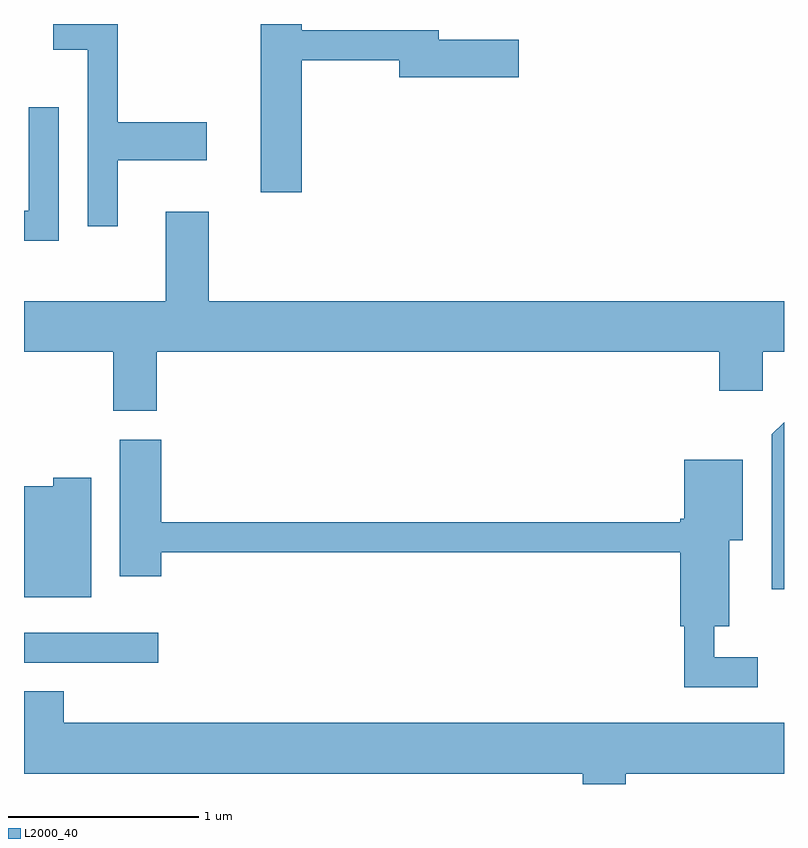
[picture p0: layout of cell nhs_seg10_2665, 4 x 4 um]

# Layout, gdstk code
import gdstk
lib = gdstk.Library(unit=1e-6, precision=1e-09)
def R(c, l, rs):  # rectangles x0, y0, x1, y1
    for r in rs: c.add(gdstk.rectangle(r[:2], r[2:], *l))
def P(c, l, *ps):  # polygons
    for p in ps: c.add(gdstk.Polygon(p, *l))
L2000_40 = (2000, 40)

nhs_seg10_2665 = lib.new_cell('nhs_seg10_2665')
R(nhs_seg10_2665, L2000_40, [(263.611,2121.161,264.318,2121.319)])
P(nhs_seg10_2665, L2000_40, [(265.074,2124.331),(265.586,2124.331),(265.586,2124.241),(266.214,2124.241),(266.214,2124.439),(265.794,2124.439),(265.794,2124.489),(265.074,2124.489),(265.074,2124.522),(264.856,2124.522),(264.856,2123.636),(265.074,2123.636)],
  [(264.104,2123.806),(264.574,2123.806),(264.574,2124.004),(264.104,2124.004),(264.104,2124.522),(263.766,2124.522),(263.766,2124.386),(263.946,2124.386),(263.946,2123.458),(264.104,2123.458)],
  [(263.794,2124.083),(263.636,2124.083),(263.636,2123.539),(263.611,2123.539),(263.611,2123.381),(263.794,2123.381)],
  [(264.309,2122.796),(267.271,2122.796),(267.271,2122.591),(267.499,2122.591),(267.499,2122.796),(267.611,2122.796),(267.611,2123.064),(264.584,2123.064),(264.584,2123.534),(264.356,2123.534),(264.356,2123.064),(263.611,2123.064),(263.611,2122.796),(264.081,2122.796),(264.081,2122.486),(264.309,2122.486)],
  [(267.611,2122.427),(267.546,2122.362),(267.546,2121.548),(267.611,2121.548)],
  [(267.473,2121.189),(267.244,2121.189),(267.244,2121.351),(267.324,2121.351),(267.324,2121.806),(267.394,2121.806),(267.394,2122.229),(267.086,2122.229),(267.086,2121.919),(267.066,2121.919),(267.066,2121.899),(264.334,2121.899),(264.334,2122.334),(264.116,2122.334),(264.116,2121.616),(264.334,2121.616),(264.334,2121.741),(267.066,2121.741),(267.066,2121.351),(267.086,2121.351),(267.086,2121.031),(267.473,2121.031)],
  [(263.964,2122.134),(263.766,2122.134),(263.766,2122.089),(263.611,2122.089),(263.611,2121.506),(263.964,2121.506)],
  [(266.779,2120.576),(267.611,2120.576),(267.611,2120.844),(263.819,2120.844),(263.819,2121.009),(263.611,2121.009),(263.611,2120.576),(266.551,2120.576),(266.551,2120.522),(266.779,2120.522)])

lib.write_gds('nhs_seg10_2665.gds')
